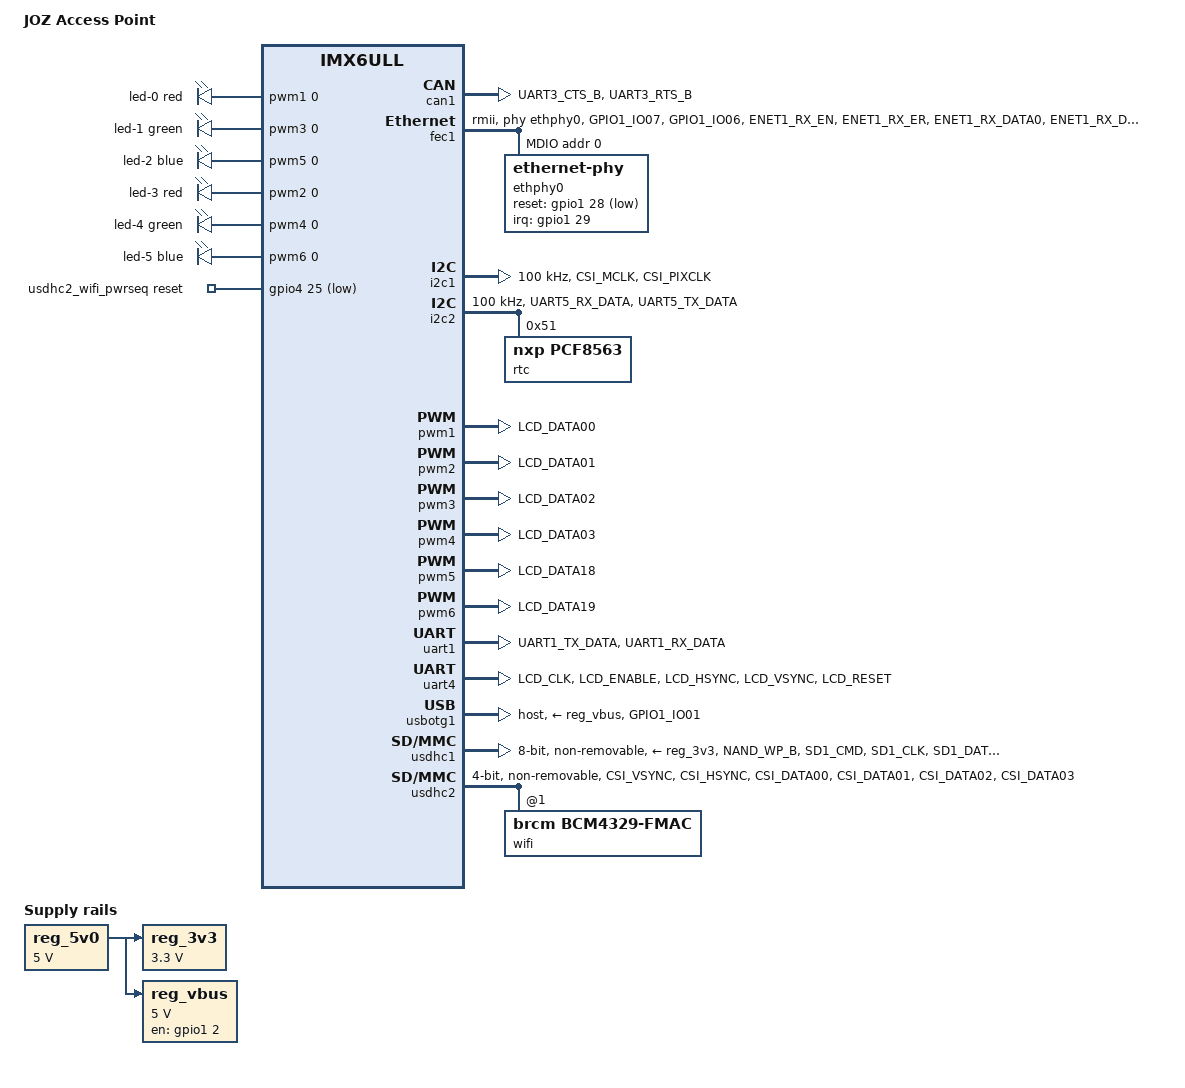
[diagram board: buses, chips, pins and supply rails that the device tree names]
// SPDX-License-Identifier: GPL-2.0-or-later OR MIT
/*
 * Copyright (c) 2020 Protonic Holland
 * Copyright (c) 2020 Oleksij Rempel <kernel@pengutronix.de>, Pengutronix
 */

/dts-v1/;

#include <dt-bindings/gpio/gpio.h>
#include <dt-bindings/leds/common.h>
#include "imx6ull.dtsi"

/ {
	model = "JOZ Access Point";
	compatible = "joz,jozacp", "fsl,imx6ull";

	chosen {
		stdout-path = &uart1;
	};

	/* On board name LED_RGB1 */
	led-controller-1 {
		compatible = "pwm-leds";

		led-0 {
			color = <LED_COLOR_ID_RED>;
			function = LED_FUNCTION_INDICATOR;
			function-enumerator = <0>;
			pwms = <&pwm1 0 10000000 0>;
			max-brightness = <255>;
		};

		led-1 {
			color = <LED_COLOR_ID_GREEN>;
			function = LED_FUNCTION_INDICATOR;
			function-enumerator = <1>;
			pwms = <&pwm3 0 10000000 0>;
			max-brightness = <255>;
		};

		led-2 {
			color = <LED_COLOR_ID_BLUE>;
			function = LED_FUNCTION_INDICATOR;
			function-enumerator = <2>;
			pwms = <&pwm5 0 10000000 0>;
			max-brightness = <255>;
			linux,default-trigger = "heartbeat";
		};
	};

	/* On board name LED_RGB2 */
	led-controller-2 {
		compatible = "pwm-leds";

		led-3 {
			color = <LED_COLOR_ID_RED>;
			function = LED_FUNCTION_INDICATOR;
			function-enumerator = <3>;
			pwms = <&pwm2 0 10000000 0>;
			max-brightness = <255>;
		};

		led-4 {
			color = <LED_COLOR_ID_GREEN>;
			function = LED_FUNCTION_INDICATOR;
			function-enumerator = <4>;
			pwms = <&pwm4 0 10000000 0>;
			max-brightness = <255>;
		};

		led-5 {
			color = <LED_COLOR_ID_BLUE>;
			function = LED_FUNCTION_INDICATOR;
			function-enumerator = <5>;
			pwms = <&pwm6 0 10000000 0>;
			max-brightness = <255>;
		};
	};

	reg_3v3: regulator-3v3 {
		compatible = "regulator-fixed";
		regulator-name = "3v3";
		regulator-min-microvolt = <3300000>;
		regulator-max-microvolt = <3300000>;
		vin-supply = <&reg_5v0>;
	};

	reg_5v0: regulator-5v0 {
		compatible = "regulator-fixed";
		regulator-name = "5v0";
		regulator-min-microvolt = <5000000>;
		regulator-max-microvolt = <5000000>;
	};

	reg_vbus: regulator-vbus {
		compatible = "regulator-fixed";
		pinctrl-names = "default";
		pinctrl-0 = <&pinctrl_vbus>;
		regulator-name = "vbus";
		regulator-min-microvolt = <5000000>;
		regulator-max-microvolt = <5000000>;
		vin-supply = <&reg_5v0>;
		gpio = <&gpio1 2 GPIO_ACTIVE_HIGH>;
		enable-active-high;
	};

	usdhc2_wifi_pwrseq: usdhc2-wifi-pwrseq {
		compatible = "mmc-pwrseq-simple";
		pinctrl-names = "default";
		pinctrl-0 = <&pinctrl_wifi_npd>;
		reset-gpios = <&gpio4 25 GPIO_ACTIVE_LOW>;
	};
};

&can1 {
	pinctrl-names = "default";
	pinctrl-0 = <&pinctrl_can1>;
	status = "okay";
};

&cpu0 {
	clock-frequency = <792000000>;
};

&fec1 {
	pinctrl-names = "default";
	pinctrl-0 = <&pinctrl_enet1>;
	phy-mode = "rmii";
	phy-handle = <&ethphy0>;
	status = "okay";

	mdio {
		#address-cells = <1>;
		#size-cells = <0>;

		ethphy0: ethernet-phy@0 {
			reg = <0>;
			clocks = <&clks IMX6UL_CLK_ENET_REF>;
			clock-names = "rmii-ref";
			interrupts-extended = <&gpio1 29 IRQ_TYPE_LEVEL_LOW>;
			reset-gpios = <&gpio1 28 GPIO_ACTIVE_LOW>;
			reset-assert-us = <10000>;
			reset-deassert-us = <300>;
		};
	};
};

&i2c1 {
	pinctrl-names = "default";
	pinctrl-0 = <&pinctrl_i2c1>;
	clock-frequency = <100000>;
	status = "okay";
};

&i2c2 {
	pinctrl-names = "default";
	pinctrl-0 = <&pinctrl_i2c2>;
	clock-frequency = <100000>;
	status = "okay";

	rtc@51 {
		compatible = "nxp,pcf8563";
		reg = <0x51>;
	};
};

&pwm1 {
	pinctrl-names = "default";
	pinctrl-0 = <&pinctrl_pwm1>;
	status = "okay";
};

&pwm2 {
	pinctrl-names = "default";
	pinctrl-0 = <&pinctrl_pwm2>;
	status = "okay";
};

&pwm3 {
	pinctrl-names = "default";
	pinctrl-0 = <&pinctrl_pwm3>;
	status = "okay";
};

&pwm4 {
	pinctrl-names = "default";
	pinctrl-0 = <&pinctrl_pwm4>;
	status = "okay";
};

&pwm5 {
	pinctrl-names = "default";
	pinctrl-0 = <&pinctrl_pwm5>;
	status = "okay";
};

&pwm6 {
	pinctrl-names = "default";
	pinctrl-0 = <&pinctrl_pwm6>;
	status = "okay";
};

&snvs_rtc {
	status = "disabled";
};

&uart1 {
	pinctrl-names = "default";
	pinctrl-0 = <&pinctrl_uart1>;
	status = "okay";
};

&uart4 {
	pinctrl-names = "default";
	pinctrl-0 = <&pinctrl_uart4>;
	dtr-gpios = <&gpio3 4 GPIO_ACTIVE_LOW>;
	uart-has-rtscts;
	status = "okay";
};

&usbotg1 {
	pinctrl-names = "default";
	pinctrl-0 = <&pinctrl_usbotg1>;
	vbus-supply = <&reg_vbus>;
	dr_mode = "host";
	over-current-active-low;
	status = "okay";
};

&usdhc1 {
	pinctrl-names = "default";
	pinctrl-0 = <&pinctrl_usdhc1>;
	vmmc-supply = <&reg_3v3>;
	bus-width = <8>;
	no-1-8-v;
	non-removable;
	cap-mmc-hw-reset;
	no-sd;
	no-sdio;
	status = "okay";
};

&usdhc2 {
	pinctrl-names = "default";
	pinctrl-0 = <&pinctrl_usdhc2>;
	mmc-pwrseq = <&usdhc2_wifi_pwrseq>;
	bus-width = <4>;
	no-1-8-v;
	no-mmc;
	no-sd;
	non-removable;
	#address-cells = <1>;
	#size-cells = <0>;
	status = "okay";

	wifi@1 {
		compatible = "brcm,bcm4329-fmac";
		reg = <1>;
	};
};

&iomuxc {
	pinctrl-names = "default";
	pinctrl-0 = <&pinctrl_hog>;

	pinctrl_can1: can1grp {
		fsl,pins = <
			MX6UL_PAD_UART3_CTS_B__FLEXCAN1_TX	0x1b0b0
			MX6UL_PAD_UART3_RTS_B__FLEXCAN1_RX	0x1b0b0
		>;
	};

	pinctrl_enet1: enet1grp {
		fsl,pins = <
			MX6UL_PAD_GPIO1_IO07__ENET1_MDC	 0x1b0b0
			MX6UL_PAD_GPIO1_IO06__ENET1_MDIO	0x1b0b0
			MX6UL_PAD_ENET1_RX_EN__ENET1_RX_EN	0x1b0b0
			MX6UL_PAD_ENET1_RX_ER__ENET1_RX_ER	0x1b0b0
			MX6UL_PAD_ENET1_RX_DATA0__ENET1_RDATA00	0x1b0b0
			MX6UL_PAD_ENET1_RX_DATA1__ENET1_RDATA01	0x1b0b0
			MX6UL_PAD_ENET1_TX_EN__ENET1_TX_EN	0x1b0b0
			MX6UL_PAD_ENET1_TX_DATA0__ENET1_TDATA00	0x1b0b0
			MX6UL_PAD_ENET1_TX_DATA1__ENET1_TDATA01	0x1b0b0
			MX6UL_PAD_ENET1_TX_CLK__ENET1_REF_CLK1	0x4001b031

			MX6UL_PAD_UART4_TX_DATA__GPIO1_IO28	0x038b0
			MX6UL_PAD_UART4_RX_DATA__GPIO1_IO29	0x170b0
		>;
	};

	pinctrl_hog: hoggrp {
		fsl,pins = <
			/* HW Revision */
			MX6UL_PAD_ENET2_RX_DATA0__GPIO2_IO08	0x1b0b0
			MX6UL_PAD_ENET2_RX_DATA1__GPIO2_IO09	0x1b0b0
			MX6UL_PAD_ENET2_RX_EN__GPIO2_IO10	0x1b0b0

			/* HW ID */
			MX6UL_PAD_ENET2_TX_DATA0__GPIO2_IO11	0x1b0b0
			MX6UL_PAD_ENET2_TX_DATA1__GPIO2_IO12	0x1b0b0
			MX6UL_PAD_ENET2_TX_EN__GPIO2_IO13	0x1b0b0
			MX6UL_PAD_ENET2_TX_CLK__GPIO2_IO14	0x1b0b0
			MX6UL_PAD_ENET2_RX_ER__GPIO2_IO15	0x1b0b0

			/* Digital inputs */
			MX6UL_PAD_GPIO1_IO03__GPIO1_IO03	0x11000
			MX6UL_PAD_GPIO1_IO04__GPIO1_IO04	0x11000
			MX6UL_PAD_GPIO1_IO05__GPIO1_IO05	0x11000
			MX6UL_PAD_GPIO1_IO08__GPIO1_IO08	0x11000
			MX6UL_PAD_GPIO1_IO09__GPIO1_IO09	0x11000

			/* Isolated outputs */
			MX6UL_PAD_UART2_TX_DATA__GPIO1_IO20	0x01020
			MX6UL_PAD_UART2_RX_DATA__GPIO1_IO21	0x01020
			MX6UL_PAD_UART2_RTS_B__GPIO1_IO23	0x01020
			MX6UL_PAD_UART3_TX_DATA__GPIO1_IO24	0x01020
			MX6UL_PAD_UART3_RX_DATA__GPIO1_IO25	0x01020
		>;
	};

	pinctrl_i2c1: i2c1grp {
		fsl,pins = <
			MX6UL_PAD_CSI_MCLK__I2C1_SDA		0x4001f8b1
			MX6UL_PAD_CSI_PIXCLK__I2C1_SCL		0x4001f8b1
		>;
	};

	pinctrl_i2c2: i2c2grp {
		fsl,pins = <
			MX6UL_PAD_UART5_RX_DATA__I2C2_SDA	0x4001f8b1
			MX6UL_PAD_UART5_TX_DATA__I2C2_SCL	0x4001f8b1
		>;
	};

	pinctrl_pwm1: pwm1grp {
		fsl,pins = <
			MX6UL_PAD_LCD_DATA00__PWM1_OUT		0x01010
		>;
	};

	pinctrl_pwm2: pwm2grp {
		fsl,pins = <
			MX6UL_PAD_LCD_DATA01__PWM2_OUT		0x01010
		>;
	};

	pinctrl_pwm3: pwm3grp {
		fsl,pins = <
			MX6UL_PAD_LCD_DATA02__PWM3_OUT		0x01010
		>;
	};

	pinctrl_pwm4: pwm4grp {
		fsl,pins = <
			MX6UL_PAD_LCD_DATA03__PWM4_OUT		0x01010
		>;
	};

	pinctrl_pwm5: pwm5grp {
		fsl,pins = <
			MX6UL_PAD_LCD_DATA18__PWM5_OUT		0x01010
		>;
	};

	pinctrl_pwm6: pwm6grp {
		fsl,pins = <
			MX6UL_PAD_LCD_DATA19__PWM6_OUT		0x01010
		>;
	};

	pinctrl_uart1: uart1grp {
		fsl,pins = <
			MX6UL_PAD_UART1_TX_DATA__UART1_DCE_TX	0x1b0b1
			MX6UL_PAD_UART1_RX_DATA__UART1_DCE_RX	0x1b0b1
		>;
	};

	pinctrl_uart4: uart4grp {
		fsl,pins = <
			MX6UL_PAD_LCD_CLK__UART4_DCE_TX		0x1b0b0
			MX6UL_PAD_LCD_ENABLE__UART4_DCE_RX	0x1b0b0
			MX6UL_PAD_LCD_HSYNC__UART4_DCE_CTS	0x1b0b0
			MX6UL_PAD_LCD_VSYNC__UART4_DCE_RTS	0x1b0b0
			MX6UL_PAD_LCD_RESET__GPIO3_IO04		0x1b0b0
		>;
	};

	pinctrl_usbotg1: usbotg1grp {
		fsl,pins = <
			MX6UL_PAD_GPIO1_IO01__USB_OTG1_OC	0x1b0b0
		>;
	};

	pinctrl_usdhc1: usdhc1grp {
		fsl,pins = <
			MX6UL_PAD_NAND_WP_B__USDHC1_RESET_B	0x17099
			MX6UL_PAD_SD1_CMD__USDHC1_CMD		0x1f099
			MX6UL_PAD_SD1_CLK__USDHC1_CLK		0x10099
			MX6UL_PAD_SD1_DATA0__USDHC1_DATA0	0x17099
			MX6UL_PAD_SD1_DATA1__USDHC1_DATA1	0x17099
			MX6UL_PAD_SD1_DATA2__USDHC1_DATA2	0x17099
			MX6UL_PAD_SD1_DATA3__USDHC1_DATA3	0x17099
			MX6UL_PAD_NAND_READY_B__USDHC1_DATA4	0x17099
			MX6UL_PAD_NAND_CE0_B__USDHC1_DATA5	0x17099
			MX6UL_PAD_NAND_CE1_B__USDHC1_DATA6	0x17099
			MX6UL_PAD_NAND_CLE__USDHC1_DATA7	0x17099
		>;
	};

	pinctrl_usdhc2: usdhc2grp {
		fsl,pins = <
			MX6UL_PAD_CSI_VSYNC__USDHC2_CLK		0x100b9
			MX6UL_PAD_CSI_HSYNC__USDHC2_CMD		0x170b9
			MX6UL_PAD_CSI_DATA00__USDHC2_DATA0	0x170b9
			MX6UL_PAD_CSI_DATA01__USDHC2_DATA1	0x170b9
			MX6UL_PAD_CSI_DATA02__USDHC2_DATA2	0x170b9
			MX6UL_PAD_CSI_DATA03__USDHC2_DATA3	0x170b9
		>;
	};

	pinctrl_vbus: vbus0grp {
		fsl,pins = <
			MX6UL_PAD_GPIO1_IO02__GPIO1_IO02	0x030b0
		>;
	};

	pinctrl_wifi_npd: wifigrp {
		fsl,pins = <
			/* WL_REG_ON */
			MX6UL_PAD_CSI_DATA04__GPIO4_IO25	0x03020
		>;
	};
};

&iomuxc_snvs {
	pinctrl-names = "default";
	pinctrl-0 = <&pinctrl_snvs_hog>;

	pinctrl_snvs_hog: snvs-hog-grp {
		fsl,pins = <
			/* Digital outputs */
			MX6ULL_PAD_SNVS_TAMPER2__GPIO5_IO02	0x00020
			MX6ULL_PAD_SNVS_TAMPER3__GPIO5_IO03	0x00020
			MX6ULL_PAD_SNVS_TAMPER4__GPIO5_IO04	0x00020
			MX6ULL_PAD_SNVS_TAMPER5__GPIO5_IO05	0x00020
			MX6ULL_PAD_SNVS_TAMPER6__GPIO5_IO06	0x00020

			/* Digital outputs fault feedback */
			MX6ULL_PAD_SNVS_TAMPER0__GPIO5_IO00	0x17000
			MX6ULL_PAD_SNVS_TAMPER1__GPIO5_IO01	0x17000
			MX6ULL_PAD_SNVS_TAMPER7__GPIO5_IO07	0x17000
			MX6ULL_PAD_SNVS_TAMPER8__GPIO5_IO08	0x17000
			MX6ULL_PAD_SNVS_TAMPER9__GPIO5_IO09	0x17000
		>;
	};
};
